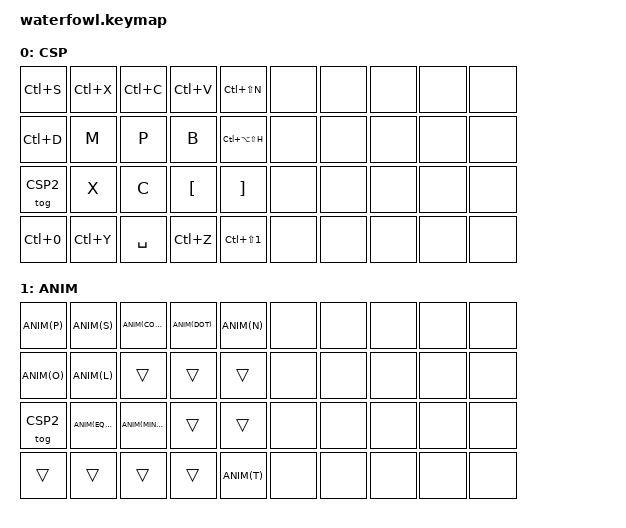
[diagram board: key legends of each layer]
/*
 * Waterfowl - left half as a Clip Studio Paint controller
 *
 * Two layers: CSP and ANIM. Z toggles between them.
 * Each layer lists 40 keys: 4 rows of (5 left keys, 5 right keys).
 * The right half is unused, so its keys are &none.
 *
 * Sensors (encoders), in this order:
 *   left roller, left dial, right dial, right roller
 */

#include <behaviors.dtsi>
#include <dt-bindings/zmk/keys.h>

#define CSP  0
#define CSP2 1

// Roller: zoom (Ctrl+- / Ctrl+=)
// Dial:   rotate (- / ')
#define CSP_SENSORS \
    sensor-bindings = < \
        &inc_dec_kp LC(MINUS) LC(EQUAL) \
        &inc_dec_kp MINUS SQT \
        &inc_dec_kp C_VOL_UP C_VOL_DN    /* right dial: unused */ \
        &inc_dec_kp C_VOL_UP C_VOL_DN    /* right roller: unused */ \
    >;

// Animation shortcuts: Ctrl+Alt+Shift+key (assign these in CSP Shortcut Settings)
#define ANIM(k) LC(LA(LS(k)))

// Layer 2 encoders
// Roller: zoom (same as layer 1)
// Dial:   previous frame / next frame
#define ANIM_SENSORS \
    sensor-bindings = < \
        &inc_dec_kp LC(MINUS) LC(EQUAL) \
        &inc_dec_kp ANIM(LBKT) ANIM(RBKT) \
        &inc_dec_kp C_VOL_UP C_VOL_DN    /* right dial: unused */ \
        &inc_dec_kp C_VOL_UP C_VOL_DN    /* right roller: unused */ \
    >;

/ {
    keymap {
        compatible = "zmk,keymap";

/* Layer 1: CSP
 * ,------------------------------------------------.
 * | Save   | Cut    | Copy   | Paste  | New raster |
 * |--------+--------+--------+--------+------------|
 * |Deselect|Select  | Pen    | Brush  | Flip canvas|
 * |--------+--------+--------+--------+------------|
 * |LAYER 2 |Swap col| C      |Brush - | Brush +    |
 * `------------------------------------------------'
 *  | Fit to screen | Redo | Space | Undo | Reset rotation |
 */
        csp_layer {
            display-name = "CSP";
            bindings = <
&kp LC(S)    &kp LC(X)    &kp LC(C)    &kp LC(V)    &kp LC(LS(N))      &none &none &none &none &none
&kp LC(D)    &kp M        &kp P        &kp B        &kp LC(LA(LS(H)))  &none &none &none &none &none
&tog CSP2    &kp X        &kp C        &kp LBKT     &kp RBKT           &none &none &none &none &none
&kp LC(N0)   &kp LC(Y)    &kp SPACE    &kp LC(Z)    &kp LC(LS(N1))     &none &none &none &none &none
            >;
            CSP_SENSORS
        };

/* Layer 2: ANIMATION  (*) = same as layer 1
 * ,------------------------------------------------------------.
 * | Play/pause | To start   | Prev draw  | Next draw  | New cel    |
 * |------------+------------+------------+------------+------------|
 * | Onion skin | Light table| Pen (*)    | Brush (*)  | Flip (*)   |
 * |------------+------------+------------+------------+------------|
 * | LAYER 1    | Add frame  | Remove frm | Brush - (*)| Brush + (*)|
 * `------------------------------------------------------------'
 *  | Fit (*) | Redo (*) | Space (*) | Undo (*) | Timeline |
 * Dial = previous / next frame. Roller = zoom.
 */
        anim_layer {
            display-name = "ANIM";
            bindings = <
&kp ANIM(P)      &kp ANIM(S)      &kp ANIM(COMMA)  &kp ANIM(DOT)    &kp ANIM(N)        &none &none &none &none &none
&kp ANIM(O)      &kp ANIM(L)      &trans           &trans           &trans             &none &none &none &none &none
&tog CSP2        &kp ANIM(EQUAL)  &kp ANIM(MINUS)  &trans           &trans             &none &none &none &none &none
&trans           &trans           &trans           &trans           &kp ANIM(T)        &none &none &none &none &none
            >;
            ANIM_SENSORS
        };
    };
};
